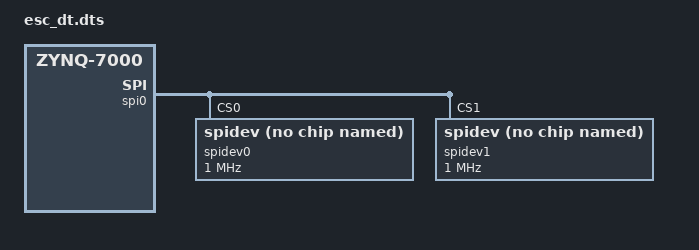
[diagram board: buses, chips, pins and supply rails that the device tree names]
/dts-v1/;
/plugin/;

/ {
	compatible = "xlnx, zynq-7000";
	
	fragment@0 {
		target = <&spi0>;
		__overlay__ {
			status = "okay";
			num-cs = <2>;
			#address-cells = <1>;
			#size-cells = <0>;

			spidev0: spidev@0 {
				compatible = "linux,spidev", "rohm,dh2228fv";
				reg = <0>; // CS0 - adc_cs_n
				spi-max-frequency = <1000000>;
				status = "okay";
			};

			spidev1: spidev@1 {
				compatible = "linux,spidev", "rohm,dh2228fv";
				reg = <1>; // CS1 - drv_cs_n
				spi-max-frequency = <1000000>;
				status = "okay";
			};
		};
	};
};
